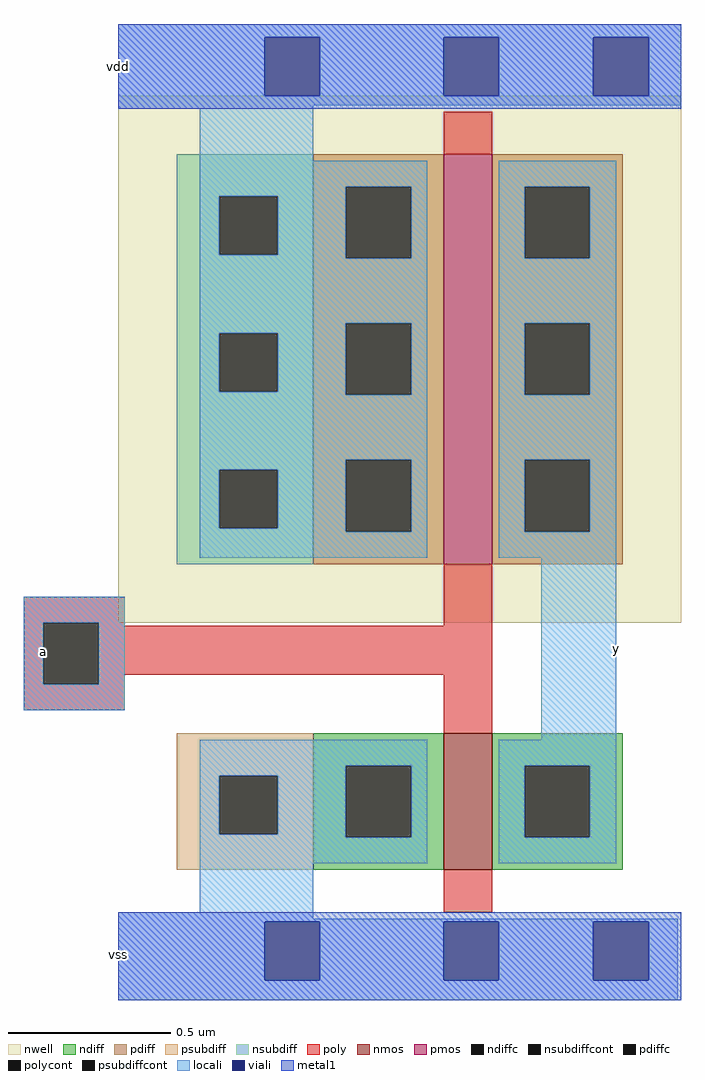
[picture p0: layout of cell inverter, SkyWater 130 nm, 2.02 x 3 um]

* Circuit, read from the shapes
.subckt inverter vss vdd a y
XM1 y a vss vss sky130_fd_pr__nfet_01v8 w=0.42 l=0.15
XM2 y a vdd vdd sky130_fd_pr__pfet_01v8 w=1.26 l=0.15
.ends

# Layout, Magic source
magic
tech sky130A
<< nwell >>
rect -100 76 73 238
<< nmos >>
rect 0 0 15 42
<< pmos >>
rect 0 94 15 220
<< ndiff >>
rect -40 32 0 42
rect -40 10 -30 32
rect -10 10 0 32
rect -40 0 0 10
rect 15 32 55 42
rect 15 10 25 32
rect 45 10 55 32
rect 15 0 55 10
<< pdiff >>
rect -40 210 0 220
rect -40 188 -30 210
rect -10 188 0 210
rect -40 168 0 188
rect -40 146 -30 168
rect -10 146 0 168
rect -40 126 0 146
rect -40 104 -30 126
rect -10 104 0 126
rect -40 94 0 104
rect 15 210 55 220
rect 15 188 25 210
rect 45 188 55 210
rect 15 168 55 188
rect 15 146 25 168
rect 45 146 55 168
rect 15 126 55 146
rect 15 104 25 126
rect 45 104 55 126
rect 15 94 55 104
<< ndiffc >>
rect -30 10 -10 32
rect 25 10 45 32
<< pdiffc >>
rect -30 188 -10 210
rect -30 146 -10 168
rect -30 104 -10 126
rect 25 188 45 210
rect 25 146 45 168
rect 25 104 45 126
<< psubdiff >>
rect -82 29 -40 42
rect -82 11 -69 29
rect -51 11 -40 29
rect -82 0 -40 11
<< nsubdiff >>
rect -82 207 -40 220
rect -82 189 -69 207
rect -51 189 -40 207
rect -82 165 -40 189
rect -82 147 -69 165
rect -51 147 -40 165
rect -82 123 -40 147
rect -82 105 -69 123
rect -51 105 -40 123
rect -82 94 -40 105
<< psubdiffcont >>
rect -69 11 -51 29
<< nsubdiffcont >>
rect -69 189 -51 207
rect -69 147 -51 165
rect -69 105 -51 123
<< poly >>
rect 0 220 15 233
rect -129 76 -98 84
rect -129 57 -123 76
rect -106 75 -98 76
rect 0 75 15 94
rect -106 60 15 75
rect -106 57 -98 60
rect -129 49 -98 57
rect 0 42 15 60
rect 0 -13 15 0
<< polycont >>
rect -123 57 -106 76
<< locali >>
rect -100 256 73 260
rect -100 238 -55 256
rect -38 238 0 256
rect 17 238 46 256
rect 63 238 73 256
rect -100 235 73 238
rect -100 234 -40 235
rect -75 218 -40 234
rect -75 210 -5 218
rect -75 207 -30 210
rect -75 189 -69 207
rect -51 189 -30 207
rect -75 188 -30 189
rect -10 188 -5 210
rect -75 168 -5 188
rect -75 165 -30 168
rect -75 147 -69 165
rect -51 147 -30 165
rect -75 146 -30 147
rect -10 146 -5 168
rect -75 126 -5 146
rect -75 123 -30 126
rect -75 105 -69 123
rect -51 105 -30 123
rect -75 104 -30 105
rect -10 104 -5 126
rect -75 96 -5 104
rect 17 210 53 218
rect 17 188 25 210
rect 45 188 53 210
rect 17 168 53 188
rect 17 146 25 168
rect 45 146 53 168
rect 17 126 53 146
rect 17 104 25 126
rect 45 104 53 126
rect 17 96 53 104
rect -129 76 -98 84
rect -129 57 -123 76
rect -106 57 -98 76
rect -129 49 -98 57
rect 30 40 53 96
rect -75 32 -5 40
rect -75 29 -30 32
rect -75 11 -69 29
rect -51 11 -30 29
rect -75 10 -30 11
rect -10 10 -5 32
rect -75 2 -5 10
rect 17 32 53 40
rect 17 10 25 32
rect 45 10 53 32
rect 17 2 53 10
rect -75 -13 -40 2
rect -100 -15 -40 -13
rect -100 -16 72 -15
rect -100 -34 -55 -16
rect -38 -34 0 -16
rect 17 -34 46 -16
rect 63 -34 72 -16
rect -100 -40 72 -34
<< viali >>
rect -55 238 -38 256
rect 0 238 17 256
rect 46 238 63 256
rect -55 -34 -38 -16
rect 0 -34 17 -16
rect 46 -34 63 -16
<< metal1 >>
rect -100 256 73 260
rect -100 238 -55 256
rect -38 238 0 256
rect 17 238 46 256
rect 63 238 73 256
rect -100 234 73 238
rect -100 -16 73 -13
rect -100 -34 -55 -16
rect -38 -34 0 -16
rect 17 -34 46 -16
rect 63 -34 73 -16
rect -100 -40 73 -34
<< labels >>
rlabel metal1 -100 247 -100 247 1 vdd
port 2 n
rlabel metal1 -100 -26 -100 -26 1 vss
port 1 n
rlabel locali -123 67 -123 67 1 a
port 3 n
rlabel locali 53 68 53 68 1 y
port 4 n
<< end >>
